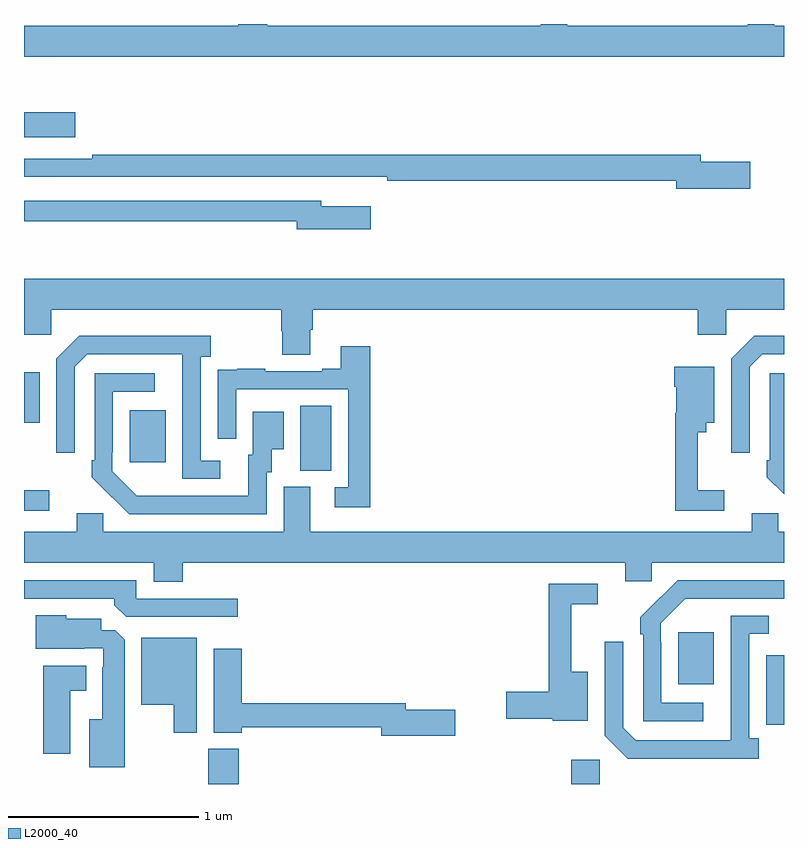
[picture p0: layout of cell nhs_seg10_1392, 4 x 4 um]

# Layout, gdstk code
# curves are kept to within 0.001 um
import gdstk
lib = gdstk.Library(unit=1e-6, precision=1e-09)
def R(c, l, rs):  # rectangles x0, y0, x1, y1
    for r in rs: c.add(gdstk.rectangle(r[:2], r[2:], *l))
def P(c, l, *ps):  # polygons
    for p in ps: c.add(gdstk.Polygon(p, *l))
L2000_40 = (2000, 40)

nhs_seg10_1392 = lib.new_cell('nhs_seg10_1392')
R(nhs_seg10_1392, L2000_40, [(183.97,1284.5,184.13,1284.685), (185.879,1284.5,186.03,1284.628), (186.443,1285.025,186.631,1285.3), (183,1285.938,183.133,1286.047), (184.454,1286.149,184.618,1286.492), (183.557,1286.193,183.745,1286.467), (183,1286.402,183.082,1286.667), (183,1287.905,183.271,1288.035)])
P(nhs_seg10_1392, L2000_40, [(187,1288.492),(186.949,1288.492),(186.949,1288.5),(186.809,1288.5),(186.809,1288.492),(185.859,1288.492),(185.859,1288.5),(185.72,1288.5),(185.72,1288.492),(184.28,1288.492),(184.28,1288.5),(184.127,1288.5),(184.127,1288.492),(183,1288.492),(183,1288.328),(187,1288.328)],
  [(186.823,1287.776),(186.562,1287.776),(186.562,1287.812),(183.358,1287.812),(183.358,1287.792),(183,1287.792),(183,1287.696),(184.66,1287.696),(184.66,1287.695),(184.912,1287.695),(184.912,1287.676),(186.434,1287.676),(186.434,1287.634),(186.823,1287.634)],
  [(184.825,1287.541),(184.564,1287.541),(184.564,1287.57),(183,1287.57),(183,1287.462),(184.436,1287.462),(184.436,1287.419),(184.825,1287.419)],
  [(184.507,1286.89),(184.52,1286.89),(184.52,1286.996),(186.545,1286.996),(186.545,1286.865),(186.696,1286.865),(186.696,1286.996),(187,1286.996),(187,1287.16),(183,1287.16),(183,1286.865),(183.144,1286.865),(183.144,1286.996),(184.355,1286.996),(184.355,1286.883),(184.36,1286.883),(184.36,1286.758),(184.507,1286.758)],
  [(186.819,1286.697),(186.885,1286.763),(187,1286.763),(187,1286.86),(186.844,1286.86),(186.723,1286.739),(186.723,1286.244),(186.819,1286.244)],
  [(184.033,1286.202),(183.93,1286.202),(183.93,1286.75),(183.982,1286.75),(183.982,1286.86),(183.292,1286.86),(183.171,1286.739),(183.171,1286.244),(183.267,1286.244),(183.267,1286.697),(183.333,1286.763),(183.833,1286.763),(183.834,1286.106),(184.033,1286.106)],
  [(184.823,1286.803),(184.667,1286.803),(184.667,1286.686),(184.571,1286.686),(184.571,1286.673),(184.271,1286.673),(184.271,1286.686),(184.123,1286.686),(184.123,1286.679),(184.021,1286.679),(184.021,1286.57),(184.02,1286.57),(184.02,1286.316),(184.116,1286.316),(184.116,1286.577),(184.707,1286.577),(184.707,1286.061),(184.635,1286.061),(184.635,1285.956),(184.823,1285.956)],
  [(186.685,1286.047),(186.545,1286.047),(186.545,1286.351),(186.592,1286.351),(186.592,1286.402),(186.634,1286.402),(186.634,1286.695),(186.422,1286.695),(186.422,1286.591),(186.434,1286.591),(186.434,1286.455),(186.427,1286.455),(186.427,1285.938),(186.685,1285.938)],
  [(187,1286.661),(186.924,1286.661),(186.924,1286.203),(186.909,1286.203),(186.909,1286.115),(187,1286.024)],
  [(184.278,1286.142),(184.303,1286.142),(184.303,1286.261),(184.366,1286.261),(184.366,1286.458),(184.205,1286.458),(184.205,1286.232),(184.181,1286.232),(184.181,1286.016),(183.594,1286.017),(183.465,1286.145),(183.465,1286.245),(183.468,1286.245),(183.468,1286.565),(183.688,1286.565),(183.688,1286.661),(183.372,1286.661),(183.372,1286.203),(183.357,1286.203),(183.357,1286.115),(183.554,1285.92),(184.278,1285.92)],
  [(183.417,1285.926),(183.278,1285.926),(183.278,1285.828),(183,1285.828),(183,1285.664),(183.683,1285.664),(183.683,1285.565),(183.836,1285.565),(183.836,1285.664),(186.164,1285.664),(186.164,1285.566),(186.303,1285.566),(186.303,1285.664),(187,1285.664),(187,1285.828),(186.969,1285.828),(186.969,1285.926),(186.83,1285.926),(186.83,1285.828),(184.507,1285.828),(184.507,1286.064),(184.367,1286.064),(184.367,1285.828),(183.417,1285.828)],
  [(186.574,1284.927),(186.354,1284.927),(186.354,1285.247),(186.351,1285.247),(186.351,1285.347),(186.48,1285.476),(187,1285.476),(187,1285.572),(186.44,1285.572),(186.243,1285.377),(186.243,1285.289),(186.258,1285.289),(186.258,1284.831),(186.574,1284.831)],
  [(184.126,1285.476),(183.591,1285.476),(183.591,1285.572),(183,1285.572),(183,1285.476),(183.476,1285.476),(183.476,1285.442),(183.537,1285.38),(184.126,1285.38)],
  [(185.968,1285.09),(185.879,1285.09),(185.879,1285.446),(186.019,1285.446),(186.019,1285.554),(185.761,1285.554),(185.761,1284.986),(185.538,1284.986),(185.538,1284.844),(185.784,1284.844),(185.784,1284.833),(185.968,1284.833)],
  [(183.529,1285.259),(183.48,1285.308),(183.406,1285.308),(183.406,1285.369),(183.222,1285.369),(183.222,1285.387),(183.062,1285.387),(183.062,1285.211),(183.317,1285.211),(183.317,1285.215),(183.417,1285.215),(183.417,1285.115),(183.413,1285.115),(183.413,1284.841),(183.344,1284.841),(183.344,1284.587),(183.529,1284.587)],
  [(186.868,1284.742),(186.816,1284.742),(186.816,1285.29),(186.919,1285.29),(186.919,1285.386),(186.72,1285.386),(186.719,1284.729),(186.219,1284.729),(186.153,1284.795),(186.153,1285.249),(186.057,1285.249),(186.057,1284.753),(186.178,1284.632),(186.868,1284.632)],
  [(183.91,1285.27),(183.617,1285.27),(183.617,1284.917),(183.788,1284.917),(183.788,1284.771),(183.91,1284.771)],
  [(185.269,1284.89),(185.008,1284.89),(185.008,1284.926),(184.145,1284.926),(184.145,1285.213),(183.998,1285.213),(183.998,1284.77),(184.145,1284.77),(184.145,1284.798),(184.88,1284.798),(184.88,1284.755),(185.269,1284.755)],
  [(187,1285.177),(186.906,1285.177),(186.906,1284.922),(186.907,1284.922),(186.907,1284.813),(187,1284.813)],
  [(183.244,1284.992),(183.328,1284.992),(183.328,1285.123),(183.101,1285.123),(183.101,1284.66),(183.244,1284.66)])

lib.write_gds('nhs_seg10_1392.gds')
